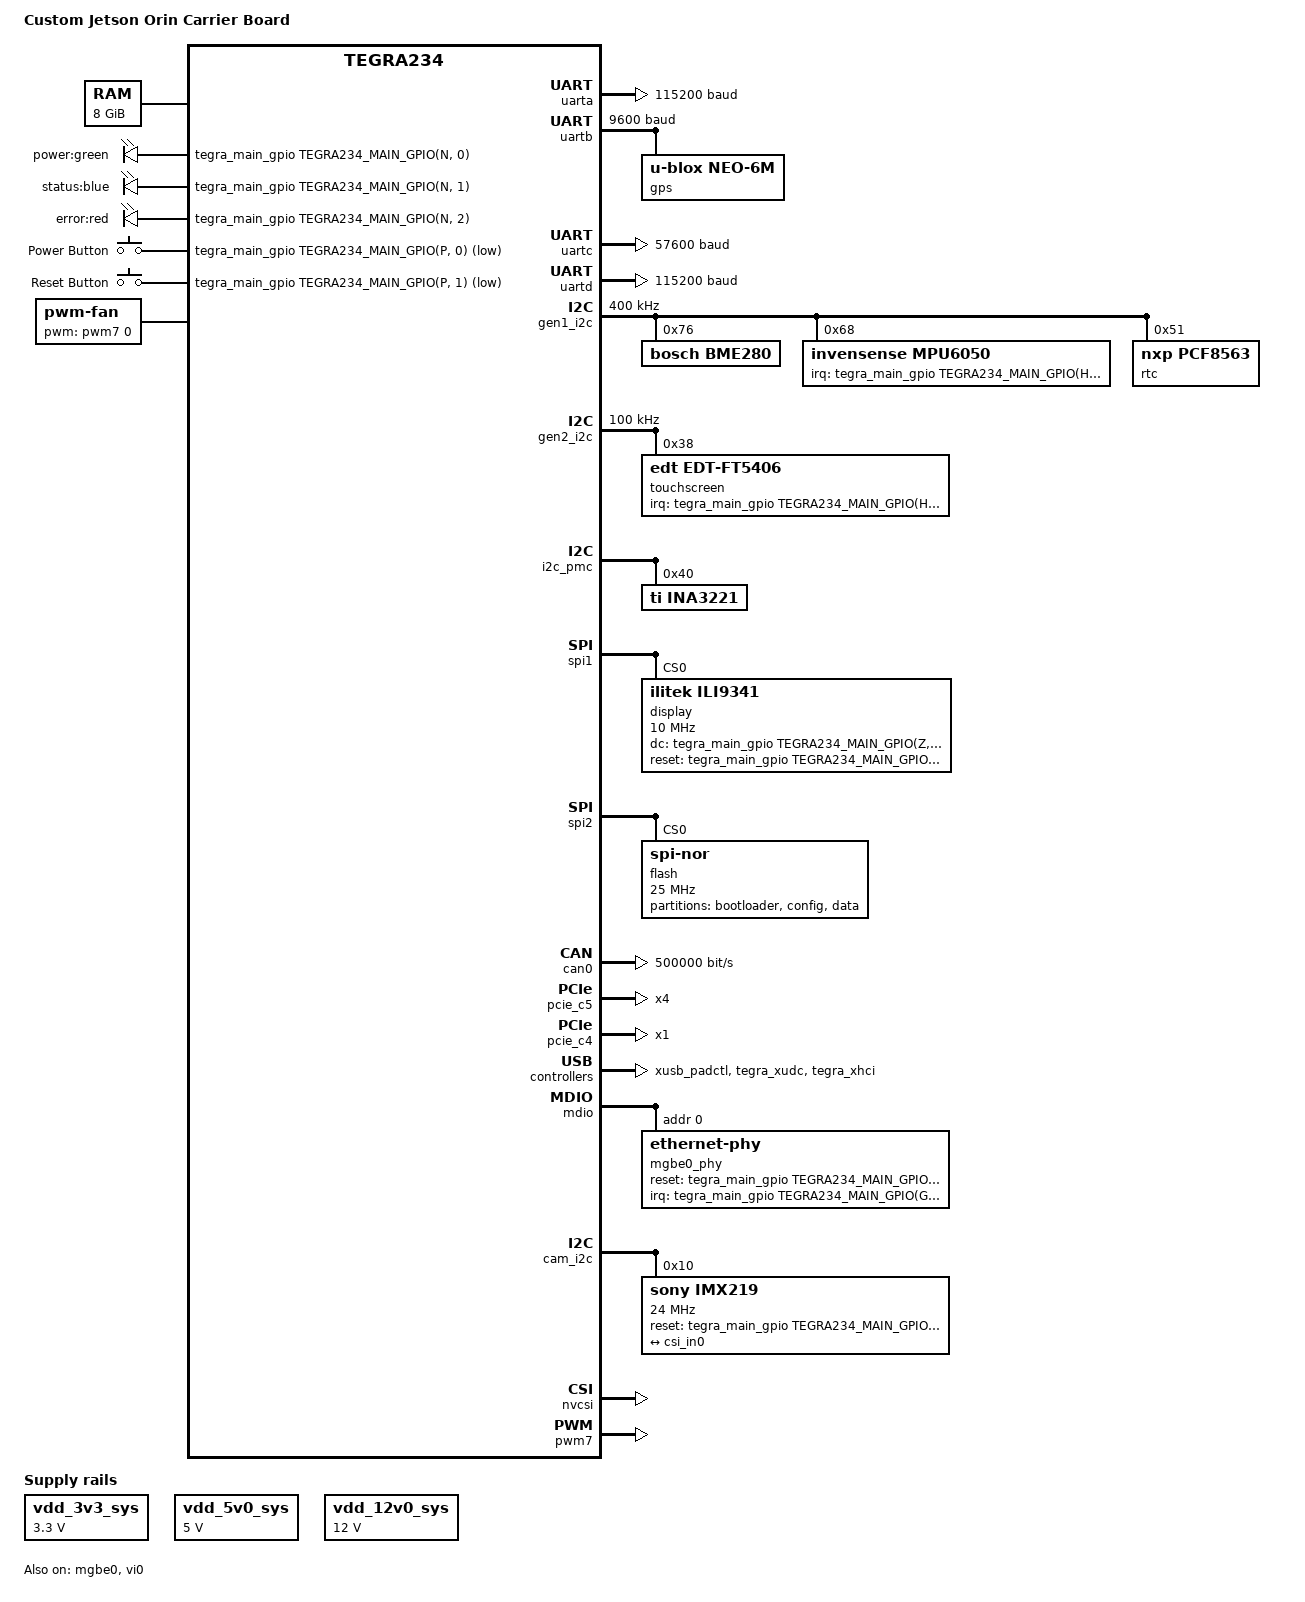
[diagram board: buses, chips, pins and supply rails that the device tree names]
// SPDX-License-Identifier: GPL-2.0
/*
 * Custom Jetson Orin Carrier Board Device Tree
 *
 * This is a complete device tree example for a custom carrier board
 * based on NVIDIA Jetson Orin module.
 *
 * Features:
 * - 4x UARTs (Debug console, GPS, Telemetry, Modem)
 * - 3x I2C buses (Sensors, Display, PMU)
 * - 2x SPI buses (Display, Flash storage)
 * - 1x CAN bus (Vehicle/Industrial communication)
 * - 2x PCIe (NVMe storage, WiFi/BT module)
 * - USB 3.0 host and device
 * - Gigabit Ethernet
 * - MIPI CSI camera
 * - GPIOs for system control
 * - Power management
 * - Thermal management
 *
 * Compilation:
 *   dtc -I dts -O dtb -o custom-carrier-board.dtb custom-carrier-board.dts
 */

/dts-v1/;

#include <dt-bindings/clock/tegra234-clock.h>
#include <dt-bindings/gpio/tegra234-gpio.h>
#include <dt-bindings/interrupt-controller/arm-gic.h>

/ {
    model = "Custom Jetson Orin Carrier Board";
    compatible = "custom,jetson-orin-carrier", "nvidia,p3768-0000+p3767-0000", "nvidia,tegra234";

    #address-cells = <2>;
    #size-cells = <2>;

    chosen {
        bootargs = "console=ttyTCU0,115200 earlycon=tegra_comb_uart,mmio32,0x0c168000";
        stdout-path = "serial0:115200n8";
    };

    memory@80000000 {
        device_type = "memory";
        reg = <0x0 0x80000000 0x0 0x200000000>;  /* 8GB */
    };

    /*
     * Fixed Regulators
     * ================
     */
    regulators {
        compatible = "simple-bus";
        #address-cells = <1>;
        #size-cells = <0>;

        vdd_3v3_sys: regulator@0 {
            compatible = "regulator-fixed";
            reg = <0>;
            regulator-name = "VDD_3V3_SYS";
            regulator-min-microvolt = <3300000>;
            regulator-max-microvolt = <3300000>;
            regulator-always-on;
            regulator-boot-on;
        };

        vdd_5v0_sys: regulator@1 {
            compatible = "regulator-fixed";
            reg = <1>;
            regulator-name = "VDD_5V0_SYS";
            regulator-min-microvolt = <5000000>;
            regulator-max-microvolt = <5000000>;
            regulator-always-on;
            regulator-boot-on;
        };

        vdd_12v0_sys: regulator@2 {
            compatible = "regulator-fixed";
            reg = <2>;
            regulator-name = "VDD_12V0_SYS";
            regulator-min-microvolt = <12000000>;
            regulator-max-microvolt = <12000000>;
            regulator-always-on;
            regulator-boot-on;
        };
    };

    /*
     * LEDs
     * ====
     */
    gpio-leds {
        compatible = "gpio-leds";

        power-led {
            label = "power:green";
            gpios = <&tegra_main_gpio TEGRA234_MAIN_GPIO(N, 0) 0>;
            default-state = "on";
            linux,default-trigger = "default-on";
        };

        status-led {
            label = "status:blue";
            gpios = <&tegra_main_gpio TEGRA234_MAIN_GPIO(N, 1) 0>;
            default-state = "off";
            linux,default-trigger = "heartbeat";
        };

        error-led {
            label = "error:red";
            gpios = <&tegra_main_gpio TEGRA234_MAIN_GPIO(N, 2) 0>;
            default-state = "off";
            linux,default-trigger = "none";
        };
    };

    /*
     * Buttons
     * =======
     */
    gpio-keys {
        compatible = "gpio-keys";

        power-button {
            label = "Power Button";
            gpios = <&tegra_main_gpio TEGRA234_MAIN_GPIO(P, 0) 1>;  /* Active low */
            linux,code = <116>;  /* KEY_POWER */
            debounce-interval = <10>;
            wakeup-source;
        };

        reset-button {
            label = "Reset Button";
            gpios = <&tegra_main_gpio TEGRA234_MAIN_GPIO(P, 1) 1>;
            linux,code = <408>;  /* KEY_RESTART */
            debounce-interval = <10>;
        };
    };

    /*
     * Fan Control
     * ===========
     */
    pwm-fan {
        compatible = "pwm-fan";
        pwms = <&pwm7 0 40000>;
        cooling-min-state = <0>;
        cooling-max-state = <4>;
        cooling-levels = <0 64 128 192 255>;
        #cooling-cells = <2>;
    };
};

/*
 * UART Configuration
 * ==================
 */

/* UART1: Debug Console */
&uarta {
    status = "okay";
    current-speed = <115200>;
};

/* UART2: GPS Module */
&uartb {
    status = "okay";
    current-speed = <9600>;

    gps {
        compatible = "u-blox,neo-6m";
        current-speed = <9600>;
    };
};

/* UART3: Telemetry */
&uartc {
    status = "okay";
    current-speed = <57600>;
};

/* UART4: Modem */
&uartd {
    status = "okay";
    current-speed = <115200>;
    nvidia,enable-hw-flow-control;
};

/*
 * I2C Configuration
 * =================
 */

/* I2C1: System Sensors */
&gen1_i2c {
    status = "okay";
    clock-frequency = <400000>;

    /* Temperature/Humidity Sensor */
    bme280@76 {
        compatible = "bosch,bme280";
        reg = <0x76>;
    };

    /* IMU (Inertial Measurement Unit) */
    mpu6050@68 {
        compatible = "invensense,mpu6050";
        reg = <0x68>;
        interrupt-parent = <&tegra_main_gpio>;
        interrupts = <TEGRA234_MAIN_GPIO(H, 0) IRQ_TYPE_EDGE_RISING>;
    };

    /* RTC (Real-Time Clock) */
    rtc@51 {
        compatible = "nxp,pcf8563";
        reg = <0x51>;
    };
};

/* I2C2: Display */
&gen2_i2c {
    status = "okay";
    clock-frequency = <100000>;

    /* Touchscreen Controller */
    touchscreen@38 {
        compatible = "edt,edt-ft5406";
        reg = <0x38>;
        interrupt-parent = <&tegra_main_gpio>;
        interrupts = <TEGRA234_MAIN_GPIO(H, 1) IRQ_TYPE_EDGE_FALLING>;
    };
};

/* I2C8: PMU (Power Management Unit) */
&i2c_pmc {
    status = "okay";

    /* Power Monitor */
    ina3221@40 {
        compatible = "ti,ina3221";
        reg = <0x40>;
        #address-cells = <1>;
        #size-cells = <0>;

        input@0 {
            reg = <0>;
            label = "VDD_IN";
            shunt-resistor-micro-ohms = <5000>;
        };

        input@1 {
            reg = <1>;
            label = "VDD_CPU";
            shunt-resistor-micro-ohms = <5000>;
        };

        input@2 {
            reg = <2>;
            label = "VDD_GPU";
            shunt-resistor-micro-ohms = <5000>;
        };
    };
};

/*
 * SPI Configuration
 * =================
 */

/* SPI1: Display */
&spi1 {
    status = "okay";
    spi-max-frequency = <25000000>;

    display@0 {
        compatible = "ilitek,ili9341";
        reg = <0>;
        spi-max-frequency = <10000000>;
        dc-gpios = <&tegra_main_gpio TEGRA234_MAIN_GPIO(Z, 0) 0>;
        reset-gpios = <&tegra_main_gpio TEGRA234_MAIN_GPIO(Z, 1) 0>;
        rotation = <0>;
    };
};

/* SPI2: Flash Storage */
&spi2 {
    status = "okay";
    spi-max-frequency = <50000000>;

    flash@0 {
        compatible = "jedec,spi-nor";
        reg = <0>;
        spi-max-frequency = <25000000>;
        m25p,fast-read;

        partitions {
            compatible = "fixed-partitions";
            #address-cells = <1>;
            #size-cells = <1>;

            bootloader@0 {
                label = "bootloader";
                reg = <0x0 0x100000>;
                read-only;
            };

            config@100000 {
                label = "config";
                reg = <0x100000 0x100000>;
            };

            data@200000 {
                label = "data";
                reg = <0x200000 0xe00000>;
            };
        };
    };
};

/*
 * CAN Bus Configuration
 * =====================
 */

&can0 {
    status = "okay";
    bus-speed = <500000>;  /* 500 kbit/s */
};

/*
 * PCIe Configuration
 * ==================
 */

/* PCIe C5: NVMe Storage */
&pcie_c5 {
    status = "okay";
    num-lanes = <4>;
    max-link-speed = <4>;  /* Gen4 */
    power-domains = <&bpmp TEGRA234_POWER_DOMAIN_PCIEX4A>;
};

/* PCIe C4: WiFi/BT Module */
&pcie_c4 {
    status = "okay";
    num-lanes = <1>;
    max-link-speed = <3>;  /* Gen3 */
    power-domains = <&bpmp TEGRA234_POWER_DOMAIN_PCIEX1A>;
};

/*
 * USB Configuration
 * =================
 */

&xusb_padctl {
    status = "okay";
};

&tegra_xudc {
    status = "okay";
};

&tegra_xhci {
    status = "okay";
};

/*
 * Ethernet Configuration
 * ======================
 */

&mgbe0 {
    status = "okay";
    phy-handle = <&mgbe0_phy>;
    phy-mode = "rgmii-id";

    mdio {
        #address-cells = <1>;
        #size-cells = <0>;

        mgbe0_phy: ethernet-phy@0 {
            reg = <0>;
            interrupt-parent = <&tegra_main_gpio>;
            interrupts = <TEGRA234_MAIN_GPIO(G, 4) IRQ_TYPE_LEVEL_LOW>;
            reset-gpios = <&tegra_main_gpio TEGRA234_MAIN_GPIO(G, 5) GPIO_ACTIVE_LOW>;
            reset-assert-us = <10000>;
            reset-deassert-us = <50000>;
        };
    };
};

/*
 * Camera Configuration
 * ====================
 */

&cam_i2c {
    status = "okay";

    imx219@10 {
        compatible = "sony,imx219";
        reg = <0x10>;

        clocks = <&bpmp_clks TEGRA234_CLK_EXTPERIPH1>;
        clock-names = "extperiph1";
        mclk = "extperiph1";
        clock-frequency = <24000000>;

        reset-gpios = <&tegra_main_gpio TEGRA234_MAIN_GPIO(H, 3) 0>;

        ports {
            #address-cells = <1>;
            #size-cells = <0>;

            port@0 {
                reg = <0>;
                imx219_out0: endpoint {
                    port-index = <0>;
                    bus-width = <2>;
                    remote-endpoint = <&csi_in0>;
                };
            };
        };
    };
};

&nvcsi {
    status = "okay";
    num-channels = <1>;

    channel@0 {
        reg = <0>;
        ports {
            #address-cells = <1>;
            #size-cells = <0>;

            port@0 {
                reg = <0>;
                csi_in0: endpoint@0 {
                    port-index = <0>;
                    bus-width = <2>;
                    remote-endpoint = <&imx219_out0>;
                };
            };

            port@1 {
                reg = <1>;
                csi_out0: endpoint@1 {
                    remote-endpoint = <&vi_in0>;
                };
            };
        };
    };
};

&vi0 {
    status = "okay";
    num-channels = <1>;

    channel@0 {
        reg = <0>;
        ports {
            #address-cells = <1>;
            #size-cells = <0>;

            port@0 {
                reg = <0>;
                vi_in0: endpoint {
                    port-index = <0>;
                    bus-width = <2>;
                    remote-endpoint = <&csi_out0>;
                };
            };
        };
    };
};

/*
 * PWM Configuration
 * =================
 */

&pwm7 {
    status = "okay";
    #pwm-cells = <2>;
};

/*
 * Thermal Management
 * ==================
 */

&cpu_thermal {
    polling-delay-passive = <500>;
    polling-delay = <1000>;

    trips {
        cpu_alert: cpu-alert {
            temperature = <80000>;
            hysteresis = <2000>;
            type = "active";
        };

        cpu_crit: cpu-critical {
            temperature = <105000>;
            hysteresis = <2000>;
            type = "critical";
        };
    };

    cooling-maps {
        map0 {
            trip = <&cpu_alert>;
            cooling-device = <&pwm_fan 0 4>;
        };
    };
};

/*
 * Pinmux Configuration
 * ====================
 * Detailed pinmux is typically included from separate file
 * or defined in base tegra234.dtsi
 */

&pinmux {
    pinctrl-names = "default";
    pinctrl-0 = <&state_default>;

    state_default: pinmux-default {
        /* GPIO configurations would go here */
        /* Typically included from jetson-orin-pinmux.dtsi */
    };
};
